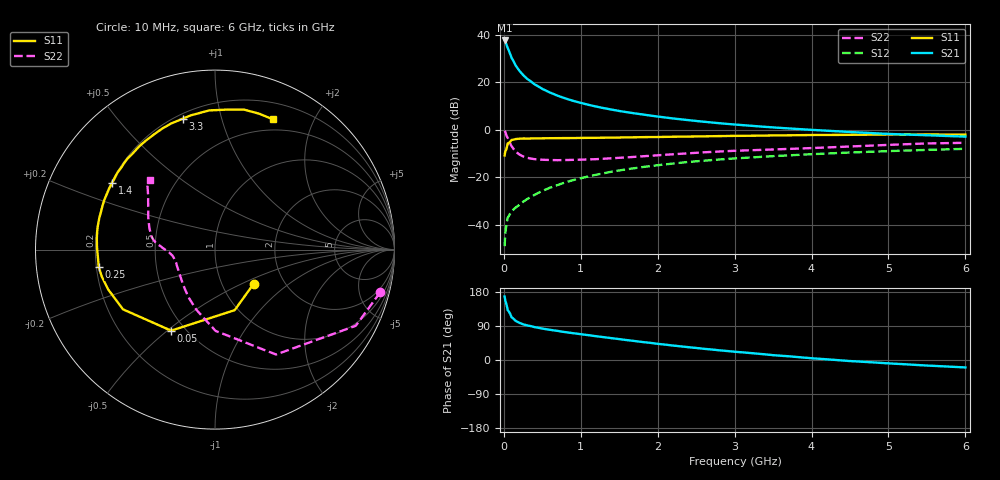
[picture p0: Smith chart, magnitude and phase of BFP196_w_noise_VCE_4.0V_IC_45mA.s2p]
! Infineon Technologies  Discrete & RF Semiconductors
! BFP196
! VCE =  4.0 V,  IC =  45 mA
! Common Emitter S-Parameters:  Jan 2017
# GHz  S  MA  R  50
!  f  S11  S21  S12  S22
! GHz  MAG  ANG  MAG  ANG  MAG  ANG  MAG  ANG
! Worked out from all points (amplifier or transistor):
!   77 points, 10 MHz to 6 GHz, reference 50 ohm
!   highest |S21| = 37.7 dB at 10 MHz (marker M1)
!   |S21| within 3 dB of that: start of sweep to 48.31 MHz
!   unconditionally stable (mu >= 1): 563.4 MHz to 2.446 GHz
!   at 130 MHz: K = 0.60, MSG = 31.1 dB, |S12| = -33.5 dB
!   at 2.2 GHz: K = 1.01, MAG = 8.9 dB, |S12| = -14.2 dB
!   at 6 GHz: K = 0.95, MSG = 2.6 dB, |S12| = -8.0 dB
!   lowest NFmin = 1.39 dB at 450 MHz
!   S11 on the Smith chart (normalised r, x): 10 MHz: 1.41, -0.58; 50 MHz: 0.42, -0.52; 250 MHz: 0.21, -0.07; 1.4 GHz: 0.20, +0.28; 3.3 GHz: 0.23, +0.76; 6 GHz: 0.37, +1.47
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0.01  0.2874 -41.3  76.72 167.5  0.0035 82.4  0.9507 -14.5
0.02  0.3548 -72.0  72.81 156.3  0.0068 74.9  0.892 -28.4
0.05  0.5134 -118.4  53.48 131.7  0.0138 57.9  0.6761 -59.8
0.1  0.611 -147.0  33.14 112.7  0.0188 52.8  0.453 -89.6
0.15  0.6355 -159.6  23.25 103.8  0.0227 53.8  0.351 -107.2
0.2  0.6485 -166.6  17.77 98.3  0.0259 56.7  0.3027 -119.5
0.25  0.6551 -171.6  14.34 94.3  0.0302 58.6  0.2737 -128.3
0.3  0.6536 -175.2  12 91.4  0.0342 60.5  0.2566 -135.4
0.4  0.6572 179.2  9.094 86.7  0.0424 63.1  0.2398 -145.3
0.5  0.661 174.9  7.288 82.9  0.0512 65.0  0.2332 -152.1
0.6  0.6645 171.1  6.105 79.6  0.06 65.6  0.2304 -157.3
0.7  0.6662 167.9  5.237 76.7  0.0683 66.0  0.2284 -161.2
0.9  0.6693 161.4  4.081 70.8  0.0865 65.1  0.2321 -166.5
1.1  0.676 155.6  3.366 65.5  0.1038 63.5  0.2372 -170.6
1.4  0.6829 147.2  2.672 57.6  0.1303 60.4  0.2505 -175.1
1.7  0.6937 139.0  2.22 50.1  0.155 56.6  0.2685 -178.5
2.1  0.7082 128.7  1.816 40.5  0.1863 51.1  0.297 177.4
3.1  0.7455 107.4  1.255 20.2  0.2541 37.7  0.3649 167.1
3.3  0.7513 103.8  1.186 16.7  0.2657 35.2  0.3743 164.5
4.1  0.7765 90.9  0.976 3.2  0.3104 25.5  0.4174 153.0
5.1  0.7958 77.1  0.807 -10.0  0.3591 13.8  0.4869 140.1
6  0.794 66.1  0.717 -19.6  0.3964 3.8  0.5313 133.3
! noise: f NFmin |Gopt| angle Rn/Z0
0.45  1.39  0.37  -180  0.06
0.9  1.55  0.46  -166  0.07
1.9  2.36  0.68  -133  0.3
2.4  2.76  0.7  -120  0.65
